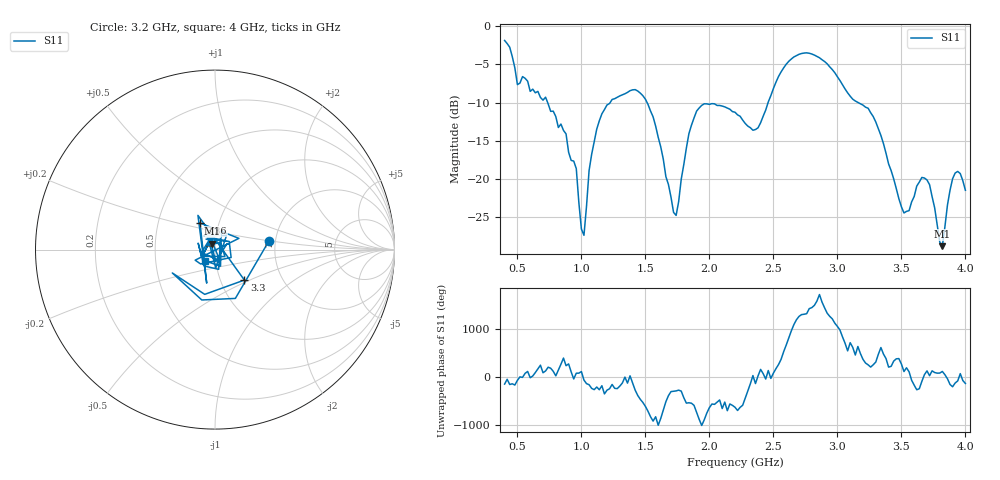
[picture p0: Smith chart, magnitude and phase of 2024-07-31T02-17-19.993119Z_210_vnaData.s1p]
!Created with skrf (http://scikit-rf.org).
# Hz S RI R 50.0
!freq ReS11 ImS11
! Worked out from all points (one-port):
!   181 points, 400 MHz to 4 GHz, reference 50 ohm
!   lowest |S11| = -28.8 dB at 3.82 GHz (marker M1), VSWR 1.08, Z = 48.3 + j3.11 ohm
!   |S11| at or under -10 dB: 736.2 MHz to 1.225 GHz (488.6 MHz wide, 49.8 % of centre); 1.513 GHz to 2.459 GHz (945.5 MHz wide, 47.6 % of centre); 3.162 GHz to end of sweep
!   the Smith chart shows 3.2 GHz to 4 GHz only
!   S11 on the Smith chart (normalised r, x): 3.2 GHz: 1.85, +0.19; 3.3 GHz: 1.30, -0.47; 3.36 GHz: 0.81, +0.25; 4 GHz: 0.89, -0.11
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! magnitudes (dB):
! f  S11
! 400 MHz  -1.9
! 500 MHz  -7.7
! 860 MHz  -13.7
! 960 MHz  -18.6
! 1 GHz  -26.6
! 1.02 GHz  -27.4
! 1.06 GHz  -18.9
! 1.12 GHz  -13.5
! 1.3 GHz  -9.1
! 1.5 GHz  -9.6
! 1.72 GHz  -24.4
! 1.76 GHz  -22.9
! 1.84 GHz  -14.1
! 1.9 GHz  -11.1
! 2.2 GHz  -11.3
! 2.38 GHz  -13.3
! 2.66 GHz  -4.0
! 2.86 GHz  -4.1
! 3.1 GHz  -9.2
! 3.2 GHz  -10.3
! 3.3 GHz  -12.6
! 3.36 GHz  -15.4
! 3.5 GHz  -23.6
! 3.56 GHz  -24.2
! 3.7 GHz  -20.1
! 3.82 GHz  -28.8
! 3.9 GHz  -20.0
! 4 GHz  -21.5
